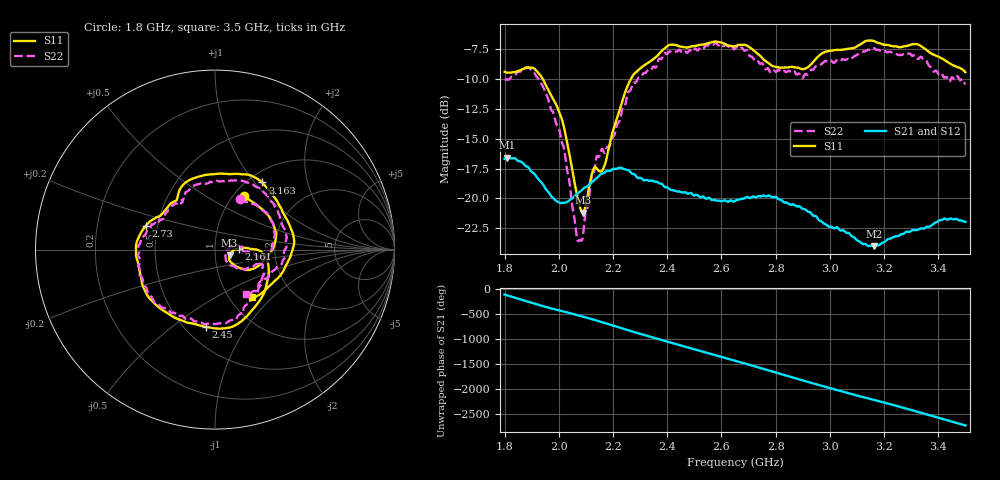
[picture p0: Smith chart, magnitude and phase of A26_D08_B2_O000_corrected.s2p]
! Created with skrf 1.9.0 (http://scikit-rf.org).
# Hz S RI R 50.0
!freq ReS11 ImS11 ReS21 ImS21 ReS12 ImS12 ReS22 ImS22
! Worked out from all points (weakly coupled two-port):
!   1601 points, 1.8 GHz to 3.5 GHz, reference 50 ohm
!   highest |S21| = -16.60 dB at 1.811 GHz (marker M1); lowest = -24.0 dB at 3.163 GHz (marker M2)
!   lowest |S11| = -21.2 dB at 2.089 GHz (marker M3), VSWR 1.19, Z = 58.7 - j3.73 ohm
!   |S11| at or under -10 dB: 1.941 GHz to 2.265 GHz (324.2 MHz wide, 15.4 % of centre)
!   |S22| runs from -23.6 to -6.9 dB; largest |S21 - S12| = 0.0029
!   S11 on the Smith chart (normalised r, x): 1.8 GHz: 1.12, +0.76; 2.161 GHz: 1.30, +0.01; 2.45 GHz: 0.63, -0.66; 2.73 GHz: 0.43, +0.14; 3.163 GHz: 1.16, +1.10; 3.5 GHz: 1.27, -0.76
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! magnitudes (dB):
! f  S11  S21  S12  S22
! 1.8 GHz  -9.4  -16.7  -16.7  -10.0
! 1.811 GHz  -9.4  -16.6  -16.6  -10.0
! 1.886 GHz  -9.0  -17.4  -17.4  -9.0
! 1.941 GHz  -10.0  -18.8  -18.8  -10.6
! 2.011 GHz  -13.4  -20.4  -20.4  -15.3
! 2.066 GHz  -19.6  -19.7  -19.7  -23.1
! 2.084 GHz  -21.1  -19.3  -19.3  -23.6
! 2.089 GHz  -21.2  -19.2  -19.2  -23.1
! 2.127 GHz  -17.6  -18.6  -18.6  -18.0
! 2.161 GHz  -17.6  -17.9  -17.9  -15.9
! 2.194 GHz  -14.8  -17.6  -17.6  -15.1
! 2.262 GHz  -10.1  -17.8  -17.8  -11.0
! 2.367 GHz  -7.9  -18.7  -18.6  -8.4
! 2.45 GHz  -7.3  -19.5  -19.5  -7.7
! 2.65 GHz  -7.2  -20.2  -20.2  -7.4
! 2.73 GHz  -7.8  -19.9  -19.9  -8.4
! 2.806 GHz  -9.0  -20.0  -20.0  -9.3
! 2.934 GHz  -8.7  -21.3  -21.3  -9.2
! 3.163 GHz  -6.8  -24.0  -24.0  -7.4
! 3.217 GHz  -7.1  -23.4  -23.4  -7.7
! 3.326 GHz  -7.1  -22.6  -22.6  -8.3
! 3.5 GHz  -9.4  -22.0  -22.0  -10.4
